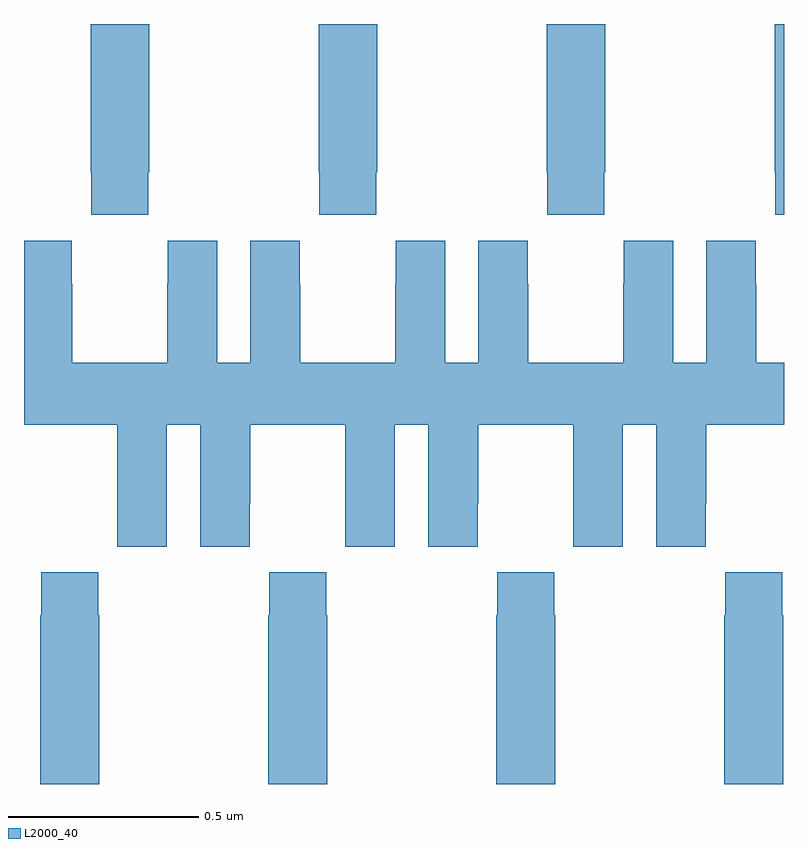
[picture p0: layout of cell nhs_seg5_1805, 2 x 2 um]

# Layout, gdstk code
import gdstk
lib = gdstk.Library(unit=1e-6, precision=1e-09)
def P(c, l, *ps):  # polygons
    for p in ps: c.add(gdstk.Polygon(p, *l))
L2000_40 = (2000, 40)

nhs_seg5_1805 = lib.new_cell('nhs_seg5_1805')
P(nhs_seg5_1805, L2000_40, [(135.927,873.409),(135.93,873.409),(135.93,873.799),(135.775,873.799),(135.775,873.409),(135.777,873.409),(135.777,873.297),(135.927,873.297)],
  [(136.527,873.409),(136.53,873.409),(136.53,873.799),(136.375,873.799),(136.375,873.409),(136.377,873.409),(136.377,873.297),(136.527,873.297)],
  [(137,873.799),(136.975,873.799),(136.975,873.409),(136.977,873.409),(136.977,873.297),(137,873.297)],
  [(135.327,873.409),(135.33,873.409),(135.33,873.799),(135.175,873.799),(135.175,873.409),(135.177,873.409),(135.177,873.297),(135.327,873.297)],
  [(135.376,872.744),(135.464,872.744),(135.464,872.424),(135.594,872.424),(135.594,872.536),(135.595,872.536),(135.595,872.744),(135.845,872.744),(135.845,872.536),(135.846,872.536),(135.846,872.424),(135.976,872.424),(135.976,872.744),(136.064,872.744),(136.064,872.424),(136.194,872.424),(136.194,872.536),(136.195,872.536),(136.195,872.744),(136.445,872.744),(136.445,872.536),(136.446,872.536),(136.446,872.424),(136.576,872.424),(136.576,872.744),(136.664,872.744),(136.664,872.424),(136.794,872.424),(136.794,872.536),(136.795,872.536),(136.795,872.744),(137,872.744),(137,872.908),(136.927,872.908),(136.927,873.116),(136.926,873.116),(136.926,873.229),(136.796,873.229),(136.796,872.908),(136.708,872.908),(136.708,873.229),(136.578,873.229),(136.578,873.116),(136.577,873.116),(136.577,872.908),(136.327,872.908),(136.327,873.116),(136.326,873.116),(136.326,873.229),(136.196,873.229),(136.196,872.908),(136.108,872.908),(136.108,873.229),(135.978,873.229),(135.978,873.116),(135.977,873.116),(135.977,872.908),(135.727,872.908),(135.727,873.116),(135.726,873.116),(135.726,873.229),(135.596,873.229),(135.596,872.908),(135.508,872.908),(135.508,873.229),(135.378,873.229),(135.378,873.116),(135.377,873.116),(135.377,872.908),(135.127,872.908),(135.127,873.116),(135.126,873.116),(135.126,873.229),(135,873.229),(135,872.744),(135.245,872.744),(135.245,872.536),(135.246,872.536),(135.246,872.424),(135.376,872.424)],
  [(136.998,872.243),(136.995,872.243),(136.995,872.356),(136.845,872.356),(136.845,872.243),(136.843,872.243),(136.843,871.799),(136.998,871.799)],
  [(136.398,872.243),(136.395,872.243),(136.395,872.356),(136.245,872.356),(136.245,872.243),(136.243,872.243),(136.243,871.799),(136.398,871.799)],
  [(135.798,872.243),(135.795,872.243),(135.795,872.356),(135.645,872.356),(135.645,872.243),(135.643,872.243),(135.643,871.799),(135.798,871.799)],
  [(135.045,872.356),(135.045,872.243),(135.043,872.243),(135.043,871.799),(135.198,871.799),(135.198,872.243),(135.195,872.243),(135.195,872.356)])

lib.write_gds('nhs_seg5_1805.gds')
